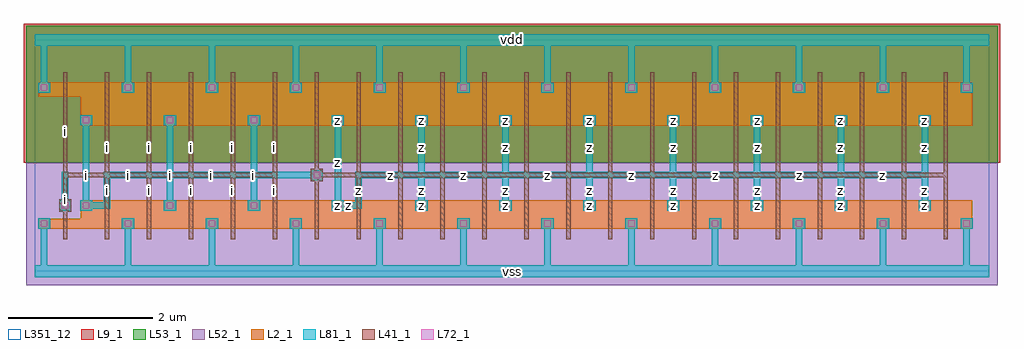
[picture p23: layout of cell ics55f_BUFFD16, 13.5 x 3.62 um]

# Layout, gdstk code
import gdstk
lib = gdstk.Library(unit=1e-6, precision=1e-09)
def R(c, l, rs):  # rectangles x0, y0, x1, y1
    for r in rs: c.add(gdstk.rectangle(r[:2], r[2:], *l))
def A(c, l, x, y, w, h, nx, ny, dx, dy):  # array of equal rectangles
    R(c, l, [(x+i*dx, y+j*dy, x+i*dx+w, y+j*dy+h) for i in range(nx) for j in range(ny)])
def P(c, l, *ps):  # polygons
    for p in ps: c.add(gdstk.Polygon(p, *l))
L0_0 = (0, 0)
L2_1 = (2, 1)
L9_1 = (9, 1)
L41_1 = (41, 1)
L52_1 = (52, 1)
L53_1 = (53, 1)
L72_1 = (72, 1)
L81_1 = (81, 1)
L351_12 = (351, 12)

ics55f_buffd16 = lib.new_cell('ics55f_BUFFD16')
A(ics55f_buffd16, L2_1, 0.055, 0.585, 0.15, 0.15, 12, 2, 1.16, 1.88)
A(ics55f_buffd16, L2_1, 0.635, 0.585, 0.73, 0.4, 21, 1, 0.58, 0)
A(ics55f_buffd16, L2_1, 0.635, 0.835, 0.15, 0.15, 11, 2, 1.16, 1.18)
A(ics55f_buffd16, L2_1, 0.635, 2.015, 0.73, 0.6, 21, 1, 0.58, 0)
R(ics55f_buffd16, L2_1, [(0.055,0.585,0.785,0.725), (0.055,2.415,0.785,2.615)])
R(ics55f_buffd16, L9_1, [(-0.15,1.5,13.35,3.425)])
A(ics55f_buffd16, L41_1, 0.97, 0.445, 0.06, 0.68, 21, 1, 0.58, 0)
A(ics55f_buffd16, L41_1, 0.97, 0.88, 0.06, 0.48, 21, 1, 0.58, 0)
A(ics55f_buffd16, L41_1, 0.39, 1.3, 0.64, 0.06, 5, 1, 0.58, 0)
A(ics55f_buffd16, L41_1, 0.97, 1.3, 0.06, 0.82, 21, 1, 0.58, 0)
A(ics55f_buffd16, L41_1, 3.87, 1.3, 0.64, 0.06, 15, 1, 0.58, 0)
A(ics55f_buffd16, L41_1, 0.97, 1.875, 0.06, 0.88, 21, 1, 0.58, 0)
R(ics55f_buffd16, L41_1, [(0.39,0.445,0.45,0.865), (0.39,0.63,0.45,1.36), (0.335,0.825,0.505,0.995), (3.815,1.245,3.985,1.415), (0.39,1.3,0.45,2.57), (0.39,2.275,0.45,2.755)])
R(ics55f_buffd16, L52_1, [(-0.12,-0.195,13.32,1.5)])
R(ics55f_buffd16, L53_1, [(-0.12,1.5,13.32,3.395)])
A(ics55f_buffd16, L72_1, 0.085, 0.615, 0.09, 0.09, 12, 2, 1.16, 1.88)
A(ics55f_buffd16, L72_1, 0.665, 0.865, 0.09, 0.09, 11, 2, 1.16, 1.18)
R(ics55f_buffd16, L72_1, [(0.375,0.865,0.465,0.955), (3.855,1.285,3.945,1.375)])
P(ics55f_buffd16, L81_1, [(0,-0.08),(0,0.08),(0.085,0.08),(0.085,0.59),(0.045,0.59),(0.045,0.73),(0.215,0.73),(0.215,0.59),(0.175,0.59),(0.175,0.08),(1.245,0.08),(1.245,0.59),(1.205,0.59),(1.205,0.73),(1.375,0.73),(1.375,0.59),(1.335,0.59),(1.335,0.08),(2.405,0.08),(2.405,0.59),(2.365,0.59),(2.365,0.73),(2.535,0.73),(2.535,0.59),(2.495,0.59),(2.495,0.08),(3.565,0.08),(3.565,0.59),(3.525,0.59),(3.525,0.73),(3.695,0.73),(3.695,0.59),(3.655,0.59),(3.655,0.08),(4.725,0.08),(4.725,0.59),(4.685,0.59),(4.685,0.73),(4.855,0.73),(4.855,0.59),(4.815,0.59),(4.815,0.08),(5.885,0.08),(5.885,0.59),(5.845,0.59),(5.845,0.73),(6.015,0.73),(6.015,0.59),(5.975,0.59),(5.975,0.08),(7.045,0.08),(7.045,0.59),(7.005,0.59),(7.005,0.73),(7.175,0.73),(7.175,0.59),(7.135,0.59),(7.135,0.08),(8.205,0.08),(8.205,0.59),(8.165,0.59),(8.165,0.73),(8.335,0.73),(8.335,0.59),(8.295,0.59),(8.295,0.08),(9.365,0.08),(9.365,0.59),(9.325,0.59),(9.325,0.73),(9.495,0.73),(9.495,0.59),(9.455,0.59),(9.455,0.08),(10.525,0.08),(10.525,0.59),(10.485,0.59),(10.485,0.73),(10.655,0.73),(10.655,0.59),(10.615,0.59),(10.615,0.08),(11.685,0.08),(11.685,0.59),(11.645,0.59),(11.645,0.73),(11.815,0.73),(11.815,0.59),(11.775,0.59),(11.775,0.08),(12.845,0.08),(12.845,0.59),(12.805,0.59),(12.805,0.73),(12.975,0.73),(12.975,0.59),(12.935,0.59),(12.935,0.08),(13.2,0.08),(13.2,-0.08)],
  [(0.335,0.84),(0.335,0.98),(0.375,0.98),(0.375,1.375),(0.465,1.375),(0.465,0.98),(0.505,0.98),(0.505,0.84)],
  [(0.625,0.84),(0.625,0.98),(0.665,0.98),(0.665,2.02),(0.625,2.02),(0.625,2.16),(0.795,2.16),(0.795,2.02),(0.755,2.02),(0.755,0.98),(0.795,0.98),(0.795,0.955),(0.955,0.955),(0.955,1.375),(1.825,1.375),(1.825,2.02),(1.785,2.02),(1.785,2.16),(1.955,2.16),(1.955,2.02),(1.915,2.02),(1.915,1.375),(2.985,1.375),(2.985,2.02),(2.945,2.02),(2.945,2.16),(3.115,2.16),(3.115,2.02),(3.075,2.02),(3.075,1.375),(3.815,1.375),(3.815,1.4),(3.985,1.4),(3.985,1.26),(3.815,1.26),(3.815,1.285),(3.075,1.285),(3.075,0.98),(3.115,0.98),(3.115,0.84),(2.945,0.84),(2.945,0.98),(2.985,0.98),(2.985,1.285),(1.915,1.285),(1.915,0.98),(1.955,0.98),(1.955,0.84),(1.785,0.84),(1.785,0.98),(1.825,0.98),(1.825,1.285),(1.045,1.285),(1.045,0.865),(0.795,0.865),(0.795,0.84)],
  [(4.105,0.84),(4.105,0.98),(4.145,0.98),(4.145,2.02),(4.105,2.02),(4.105,2.16),(4.275,2.16),(4.275,2.02),(4.235,2.02),(4.235,0.98),(4.275,0.98),(4.275,0.955),(4.435,0.955),(4.435,1.375),(5.305,1.375),(5.305,2.02),(5.265,2.02),(5.265,2.16),(5.435,2.16),(5.435,2.02),(5.395,2.02),(5.395,1.375),(6.465,1.375),(6.465,2.02),(6.425,2.02),(6.425,2.16),(6.595,2.16),(6.595,2.02),(6.555,2.02),(6.555,1.375),(7.625,1.375),(7.625,2.02),(7.585,2.02),(7.585,2.16),(7.755,2.16),(7.755,2.02),(7.715,2.02),(7.715,1.375),(8.785,1.375),(8.785,2.02),(8.745,2.02),(8.745,2.16),(8.915,2.16),(8.915,2.02),(8.875,2.02),(8.875,1.375),(9.945,1.375),(9.945,2.02),(9.905,2.02),(9.905,2.16),(10.075,2.16),(10.075,2.02),(10.035,2.02),(10.035,1.375),(11.105,1.375),(11.105,2.02),(11.065,2.02),(11.065,2.16),(11.235,2.16),(11.235,2.02),(11.195,2.02),(11.195,1.375),(12.265,1.375),(12.265,2.02),(12.225,2.02),(12.225,2.16),(12.395,2.16),(12.395,2.02),(12.355,2.02),(12.355,0.98),(12.395,0.98),(12.395,0.84),(12.225,0.84),(12.225,0.98),(12.265,0.98),(12.265,1.285),(11.195,1.285),(11.195,0.98),(11.235,0.98),(11.235,0.84),(11.065,0.84),(11.065,0.98),(11.105,0.98),(11.105,1.285),(10.035,1.285),(10.035,0.98),(10.075,0.98),(10.075,0.84),(9.905,0.84),(9.905,0.98),(9.945,0.98),(9.945,1.285),(8.875,1.285),(8.875,0.98),(8.915,0.98),(8.915,0.84),(8.745,0.84),(8.745,0.98),(8.785,0.98),(8.785,1.285),(7.715,1.285),(7.715,0.98),(7.755,0.98),(7.755,0.84),(7.585,0.84),(7.585,0.98),(7.625,0.98),(7.625,1.285),(6.555,1.285),(6.555,0.98),(6.595,0.98),(6.595,0.84),(6.425,0.84),(6.425,0.98),(6.465,0.98),(6.465,1.285),(5.395,1.285),(5.395,0.98),(5.435,0.98),(5.435,0.84),(5.265,0.84),(5.265,0.98),(5.305,0.98),(5.305,1.285),(4.525,1.285),(4.525,0.865),(4.275,0.865),(4.275,0.84)],
  [(0.045,2.47),(0.045,2.61),(0.085,2.61),(0.085,3.12),(0,3.12),(0,3.28),(13.2,3.28),(13.2,3.12),(12.935,3.12),(12.935,2.61),(12.975,2.61),(12.975,2.47),(12.805,2.47),(12.805,2.61),(12.845,2.61),(12.845,3.12),(11.775,3.12),(11.775,2.61),(11.815,2.61),(11.815,2.47),(11.645,2.47),(11.645,2.61),(11.685,2.61),(11.685,3.12),(10.615,3.12),(10.615,2.61),(10.655,2.61),(10.655,2.47),(10.485,2.47),(10.485,2.61),(10.525,2.61),(10.525,3.12),(9.455,3.12),(9.455,2.61),(9.495,2.61),(9.495,2.47),(9.325,2.47),(9.325,2.61),(9.365,2.61),(9.365,3.12),(8.295,3.12),(8.295,2.61),(8.335,2.61),(8.335,2.47),(8.165,2.47),(8.165,2.61),(8.205,2.61),(8.205,3.12),(7.135,3.12),(7.135,2.61),(7.175,2.61),(7.175,2.47),(7.005,2.47),(7.005,2.61),(7.045,2.61),(7.045,3.12),(5.975,3.12),(5.975,2.61),(6.015,2.61),(6.015,2.47),(5.845,2.47),(5.845,2.61),(5.885,2.61),(5.885,3.12),(4.815,3.12),(4.815,2.61),(4.855,2.61),(4.855,2.47),(4.685,2.47),(4.685,2.61),(4.725,2.61),(4.725,3.12),(3.655,3.12),(3.655,2.61),(3.695,2.61),(3.695,2.47),(3.525,2.47),(3.525,2.61),(3.565,2.61),(3.565,3.12),(2.495,3.12),(2.495,2.61),(2.535,2.61),(2.535,2.47),(2.365,2.47),(2.365,2.61),(2.405,2.61),(2.405,3.12),(1.335,3.12),(1.335,2.61),(1.375,2.61),(1.375,2.47),(1.205,2.47),(1.205,2.61),(1.245,2.61),(1.245,3.12),(0.175,3.12),(0.175,2.61),(0.215,2.61),(0.215,2.47)])
R(ics55f_buffd16, L351_12, [(0,0,13.2,3.2)])
ics55f_buffd16.add(gdstk.FlexPath([(0.045,0.24),(12.975,0.24)], 0, ends="flush", simple_path=True, layer=0, datatype=0))  # L0_0
ics55f_buffd16.add(gdstk.FlexPath([(0.045,0.66),(12.975,0.66)], 0, ends="flush", simple_path=True, layer=0, datatype=0))  # L0_0
ics55f_buffd16.add(gdstk.FlexPath([(0.045,0.91),(12.975,0.91)], 0, ends="flush", simple_path=True, layer=0, datatype=0))  # L0_0
ics55f_buffd16.add(gdstk.FlexPath([(0.045,1.33),(12.975,1.33)], 0, ends="flush", simple_path=True, layer=0, datatype=0))  # L0_0
ics55f_buffd16.add(gdstk.FlexPath([(0.045,1.62),(12.975,1.62)], 0, ends="flush", simple_path=True, layer=0, datatype=0))  # L0_0
ics55f_buffd16.add(gdstk.FlexPath([(0.045,2.09),(12.975,2.09)], 0, ends="flush", simple_path=True, layer=0, datatype=0))  # L0_0
ics55f_buffd16.add(gdstk.FlexPath([(0.045,2.54),(12.975,2.54)], 0, ends="flush", simple_path=True, layer=0, datatype=0))  # L0_0
ics55f_buffd16.add(gdstk.FlexPath([(0.045,2.96),(12.975,2.96)], 0, ends="flush", simple_path=True, layer=0, datatype=0))  # L0_0
ics55f_buffd16.add(gdstk.FlexPath([(0.13,0.03),(0.13,3.17)], 0, ends="flush", simple_path=True, layer=0, datatype=0))  # L0_0
ics55f_buffd16.add(gdstk.FlexPath([(0.42,0.03),(0.42,3.17)], 0, ends="flush", simple_path=True, layer=0, datatype=0))  # L0_0
ics55f_buffd16.add(gdstk.FlexPath([(0.71,0.03),(0.71,3.17)], 0, ends="flush", simple_path=True, layer=0, datatype=0))  # L0_0
ics55f_buffd16.add(gdstk.FlexPath([(1,0.03),(1,3.17)], 0, ends="flush", simple_path=True, layer=0, datatype=0))  # L0_0
ics55f_buffd16.add(gdstk.FlexPath([(1.29,0.03),(1.29,3.17)], 0, ends="flush", simple_path=True, layer=0, datatype=0))  # L0_0
ics55f_buffd16.add(gdstk.FlexPath([(1.58,0.03),(1.58,3.17)], 0, ends="flush", simple_path=True, layer=0, datatype=0))  # L0_0
ics55f_buffd16.add(gdstk.FlexPath([(1.87,0.03),(1.87,3.17)], 0, ends="flush", simple_path=True, layer=0, datatype=0))  # L0_0
ics55f_buffd16.add(gdstk.FlexPath([(2.16,0.03),(2.16,3.17)], 0, ends="flush", simple_path=True, layer=0, datatype=0))  # L0_0
ics55f_buffd16.add(gdstk.FlexPath([(2.45,0.03),(2.45,3.17)], 0, ends="flush", simple_path=True, layer=0, datatype=0))  # L0_0
ics55f_buffd16.add(gdstk.FlexPath([(2.74,0.03),(2.74,3.17)], 0, ends="flush", simple_path=True, layer=0, datatype=0))  # L0_0
ics55f_buffd16.add(gdstk.FlexPath([(3.03,0.03),(3.03,3.17)], 0, ends="flush", simple_path=True, layer=0, datatype=0))  # L0_0
ics55f_buffd16.add(gdstk.FlexPath([(3.32,0.03),(3.32,3.17)], 0, ends="flush", simple_path=True, layer=0, datatype=0))  # L0_0
ics55f_buffd16.add(gdstk.FlexPath([(3.61,0.03),(3.61,3.17)], 0, ends="flush", simple_path=True, layer=0, datatype=0))  # L0_0
ics55f_buffd16.add(gdstk.FlexPath([(3.9,0.03),(3.9,3.17)], 0, ends="flush", simple_path=True, layer=0, datatype=0))  # L0_0
ics55f_buffd16.add(gdstk.FlexPath([(4.19,0.03),(4.19,3.17)], 0, ends="flush", simple_path=True, layer=0, datatype=0))  # L0_0
ics55f_buffd16.add(gdstk.FlexPath([(4.48,0.03),(4.48,3.17)], 0, ends="flush", simple_path=True, layer=0, datatype=0))  # L0_0
ics55f_buffd16.add(gdstk.FlexPath([(4.77,0.03),(4.77,3.17)], 0, ends="flush", simple_path=True, layer=0, datatype=0))  # L0_0
ics55f_buffd16.add(gdstk.FlexPath([(5.06,0.03),(5.06,3.17)], 0, ends="flush", simple_path=True, layer=0, datatype=0))  # L0_0
ics55f_buffd16.add(gdstk.FlexPath([(5.35,0.03),(5.35,3.17)], 0, ends="flush", simple_path=True, layer=0, datatype=0))  # L0_0
ics55f_buffd16.add(gdstk.FlexPath([(5.64,0.03),(5.64,3.17)], 0, ends="flush", simple_path=True, layer=0, datatype=0))  # L0_0
ics55f_buffd16.add(gdstk.FlexPath([(5.93,0.03),(5.93,3.17)], 0, ends="flush", simple_path=True, layer=0, datatype=0))  # L0_0
ics55f_buffd16.add(gdstk.FlexPath([(6.22,0.03),(6.22,3.17)], 0, ends="flush", simple_path=True, layer=0, datatype=0))  # L0_0
ics55f_buffd16.add(gdstk.FlexPath([(6.51,0.03),(6.51,3.17)], 0, ends="flush", simple_path=True, layer=0, datatype=0))  # L0_0
ics55f_buffd16.add(gdstk.FlexPath([(6.8,0.03),(6.8,3.17)], 0, ends="flush", simple_path=True, layer=0, datatype=0))  # L0_0
ics55f_buffd16.add(gdstk.FlexPath([(7.09,0.03),(7.09,3.17)], 0, ends="flush", simple_path=True, layer=0, datatype=0))  # L0_0
ics55f_buffd16.add(gdstk.FlexPath([(7.38,0.03),(7.38,3.17)], 0, ends="flush", simple_path=True, layer=0, datatype=0))  # L0_0
ics55f_buffd16.add(gdstk.FlexPath([(7.67,0.03),(7.67,3.17)], 0, ends="flush", simple_path=True, layer=0, datatype=0))  # L0_0
ics55f_buffd16.add(gdstk.FlexPath([(7.96,0.03),(7.96,3.17)], 0, ends="flush", simple_path=True, layer=0, datatype=0))  # L0_0
ics55f_buffd16.add(gdstk.FlexPath([(8.25,0.03),(8.25,3.17)], 0, ends="flush", simple_path=True, layer=0, datatype=0))  # L0_0
ics55f_buffd16.add(gdstk.FlexPath([(8.54,0.03),(8.54,3.17)], 0, ends="flush", simple_path=True, layer=0, datatype=0))  # L0_0
ics55f_buffd16.add(gdstk.FlexPath([(8.83,0.03),(8.83,3.17)], 0, ends="flush", simple_path=True, layer=0, datatype=0))  # L0_0
ics55f_buffd16.add(gdstk.FlexPath([(9.12,0.03),(9.12,3.17)], 0, ends="flush", simple_path=True, layer=0, datatype=0))  # L0_0
ics55f_buffd16.add(gdstk.FlexPath([(9.41,0.03),(9.41,3.17)], 0, ends="flush", simple_path=True, layer=0, datatype=0))  # L0_0
ics55f_buffd16.add(gdstk.FlexPath([(9.7,0.03),(9.7,3.17)], 0, ends="flush", simple_path=True, layer=0, datatype=0))  # L0_0
ics55f_buffd16.add(gdstk.FlexPath([(9.99,0.03),(9.99,3.17)], 0, ends="flush", simple_path=True, layer=0, datatype=0))  # L0_0
ics55f_buffd16.add(gdstk.FlexPath([(10.28,0.03),(10.28,3.17)], 0, ends="flush", simple_path=True, layer=0, datatype=0))  # L0_0
ics55f_buffd16.add(gdstk.FlexPath([(10.57,0.03),(10.57,3.17)], 0, ends="flush", simple_path=True, layer=0, datatype=0))  # L0_0
ics55f_buffd16.add(gdstk.FlexPath([(10.86,0.03),(10.86,3.17)], 0, ends="flush", simple_path=True, layer=0, datatype=0))  # L0_0
ics55f_buffd16.add(gdstk.FlexPath([(11.15,0.03),(11.15,3.17)], 0, ends="flush", simple_path=True, layer=0, datatype=0))  # L0_0
ics55f_buffd16.add(gdstk.FlexPath([(11.44,0.03),(11.44,3.17)], 0, ends="flush", simple_path=True, layer=0, datatype=0))  # L0_0
ics55f_buffd16.add(gdstk.FlexPath([(11.73,0.03),(11.73,3.17)], 0, ends="flush", simple_path=True, layer=0, datatype=0))  # L0_0
ics55f_buffd16.add(gdstk.FlexPath([(12.02,0.03),(12.02,3.17)], 0, ends="flush", simple_path=True, layer=0, datatype=0))  # L0_0
ics55f_buffd16.add(gdstk.FlexPath([(12.31,0.03),(12.31,3.17)], 0, ends="flush", simple_path=True, layer=0, datatype=0))  # L0_0
ics55f_buffd16.add(gdstk.FlexPath([(12.6,0.03),(12.6,3.17)], 0, ends="flush", simple_path=True, layer=0, datatype=0))  # L0_0
ics55f_buffd16.add(gdstk.FlexPath([(12.89,0.03),(12.89,3.17)], 0, ends="flush", simple_path=True, layer=0, datatype=0))  # L0_0
ics55f_buffd16.add(gdstk.Label('z', (4.19,0.91), layer=2, texttype=1))
ics55f_buffd16.add(gdstk.Label('z', (5.35,0.91), layer=2, texttype=1))
ics55f_buffd16.add(gdstk.Label('z', (6.51,0.91), layer=2, texttype=1))
ics55f_buffd16.add(gdstk.Label('z', (7.67,0.91), layer=2, texttype=1))
ics55f_buffd16.add(gdstk.Label('z', (8.83,0.91), layer=2, texttype=1))
ics55f_buffd16.add(gdstk.Label('z', (9.99,0.91), layer=2, texttype=1))
ics55f_buffd16.add(gdstk.Label('z', (11.15,0.91), layer=2, texttype=1))
ics55f_buffd16.add(gdstk.Label('z', (12.31,0.91), layer=2, texttype=1))
ics55f_buffd16.add(gdstk.Label('z', (4.19,2.09), layer=2, texttype=1))
ics55f_buffd16.add(gdstk.Label('z', (5.35,2.09), layer=2, texttype=1))
ics55f_buffd16.add(gdstk.Label('z', (6.51,2.09), layer=2, texttype=1))
ics55f_buffd16.add(gdstk.Label('z', (7.67,2.09), layer=2, texttype=1))
ics55f_buffd16.add(gdstk.Label('z', (8.83,2.09), layer=2, texttype=1))
ics55f_buffd16.add(gdstk.Label('z', (9.99,2.09), layer=2, texttype=1))
ics55f_buffd16.add(gdstk.Label('z', (11.15,2.09), layer=2, texttype=1))
ics55f_buffd16.add(gdstk.Label('z', (12.31,2.09), layer=2, texttype=1))
ics55f_buffd16.add(gdstk.Label('i', (0.42,0.995), layer=41, texttype=1))
ics55f_buffd16.add(gdstk.Label('i', (0.71,1.33), layer=41, texttype=1))
ics55f_buffd16.add(gdstk.Label('i', (1,1.12), layer=41, texttype=1))
ics55f_buffd16.add(gdstk.Label('i', (1.29,1.33), layer=41, texttype=1))
ics55f_buffd16.add(gdstk.Label('i', (1.58,1.12), layer=41, texttype=1))
ics55f_buffd16.add(gdstk.Label('i', (1.87,1.33), layer=41, texttype=1))
ics55f_buffd16.add(gdstk.Label('i', (2.16,1.12), layer=41, texttype=1))
ics55f_buffd16.add(gdstk.Label('i', (2.45,1.33), layer=41, texttype=1))
ics55f_buffd16.add(gdstk.Label('i', (2.74,1.12), layer=41, texttype=1))
ics55f_buffd16.add(gdstk.Label('i', (3.03,1.33), layer=41, texttype=1))
ics55f_buffd16.add(gdstk.Label('i', (3.32,1.12), layer=41, texttype=1))
ics55f_buffd16.add(gdstk.Label('i', (0.42,1.935), layer=41, texttype=1))
ics55f_buffd16.add(gdstk.Label('i', (1,1.71), layer=41, texttype=1))
ics55f_buffd16.add(gdstk.Label('i', (1.58,1.71), layer=41, texttype=1))
ics55f_buffd16.add(gdstk.Label('i', (2.16,1.71), layer=41, texttype=1))
ics55f_buffd16.add(gdstk.Label('i', (2.74,1.71), layer=41, texttype=1))
ics55f_buffd16.add(gdstk.Label('i', (3.32,1.71), layer=41, texttype=1))
ics55f_buffd16.add(gdstk.Label('i', (0.42,0.91), layer=41, texttype=1))
ics55f_buffd16.add(gdstk.Label('i', (0.42,0.91), layer=72, texttype=1))
ics55f_buffd16.add(gdstk.Label('z', (4.19,0.91), layer=72, texttype=1))
ics55f_buffd16.add(gdstk.Label('z', (5.35,0.91), layer=72, texttype=1))
ics55f_buffd16.add(gdstk.Label('z', (6.51,0.91), layer=72, texttype=1))
ics55f_buffd16.add(gdstk.Label('z', (7.67,0.91), layer=72, texttype=1))
ics55f_buffd16.add(gdstk.Label('z', (8.83,0.91), layer=72, texttype=1))
ics55f_buffd16.add(gdstk.Label('z', (9.99,0.91), layer=72, texttype=1))
ics55f_buffd16.add(gdstk.Label('z', (11.15,0.91), layer=72, texttype=1))
ics55f_buffd16.add(gdstk.Label('z', (12.31,0.91), layer=72, texttype=1))
ics55f_buffd16.add(gdstk.Label('z', (4.19,2.09), layer=72, texttype=1))
ics55f_buffd16.add(gdstk.Label('z', (5.35,2.09), layer=72, texttype=1))
ics55f_buffd16.add(gdstk.Label('z', (6.51,2.09), layer=72, texttype=1))
ics55f_buffd16.add(gdstk.Label('z', (7.67,2.09), layer=72, texttype=1))
ics55f_buffd16.add(gdstk.Label('z', (8.83,2.09), layer=72, texttype=1))
ics55f_buffd16.add(gdstk.Label('z', (9.99,2.09), layer=72, texttype=1))
ics55f_buffd16.add(gdstk.Label('z', (11.15,2.09), layer=72, texttype=1))
ics55f_buffd16.add(gdstk.Label('z', (12.31,2.09), layer=72, texttype=1))
ics55f_buffd16.add(gdstk.Label('i', (0.42,0.91), layer=81, texttype=6))
ics55f_buffd16.add(gdstk.Label('i', (0.42,1.12), layer=81, texttype=6))
ics55f_buffd16.add(gdstk.Label('z', (4.19,0.91), layer=81, texttype=6))
ics55f_buffd16.add(gdstk.Label('z', (5.35,0.91), layer=81, texttype=6))
ics55f_buffd16.add(gdstk.Label('z', (6.51,0.91), layer=81, texttype=6))
ics55f_buffd16.add(gdstk.Label('z', (7.67,0.91), layer=81, texttype=6))
ics55f_buffd16.add(gdstk.Label('z', (8.83,0.91), layer=81, texttype=6))
ics55f_buffd16.add(gdstk.Label('z', (9.99,0.91), layer=81, texttype=6))
ics55f_buffd16.add(gdstk.Label('z', (11.15,0.91), layer=81, texttype=6))
ics55f_buffd16.add(gdstk.Label('z', (12.31,0.91), layer=81, texttype=6))
ics55f_buffd16.add(gdstk.Label('z', (4.19,2.09), layer=81, texttype=6))
ics55f_buffd16.add(gdstk.Label('z', (5.35,2.09), layer=81, texttype=6))
ics55f_buffd16.add(gdstk.Label('z', (6.51,2.09), layer=81, texttype=6))
ics55f_buffd16.add(gdstk.Label('z', (7.67,2.09), layer=81, texttype=6))
ics55f_buffd16.add(gdstk.Label('z', (8.83,2.09), layer=81, texttype=6))
ics55f_buffd16.add(gdstk.Label('z', (9.99,2.09), layer=81, texttype=6))
ics55f_buffd16.add(gdstk.Label('z', (11.15,2.09), layer=81, texttype=6))
ics55f_buffd16.add(gdstk.Label('z', (12.31,2.09), layer=81, texttype=6))
ics55f_buffd16.add(gdstk.Label('z', (4.335,0.91), layer=81, texttype=6))
ics55f_buffd16.add(gdstk.Label('z', (4.48,1.12), layer=81, texttype=6))
ics55f_buffd16.add(gdstk.Label('z', (4.915,1.33), layer=81, texttype=6))
ics55f_buffd16.add(gdstk.Label('z', (5.35,1.12), layer=81, texttype=6))
ics55f_buffd16.add(gdstk.Label('z', (5.93,1.33), layer=81, texttype=6))
ics55f_buffd16.add(gdstk.Label('z', (6.51,1.12), layer=81, texttype=6))
ics55f_buffd16.add(gdstk.Label('z', (7.09,1.33), layer=81, texttype=6))
ics55f_buffd16.add(gdstk.Label('z', (7.67,1.12), layer=81, texttype=6))
ics55f_buffd16.add(gdstk.Label('z', (8.25,1.33), layer=81, texttype=6))
ics55f_buffd16.add(gdstk.Label('z', (8.83,1.12), layer=81, texttype=6))
ics55f_buffd16.add(gdstk.Label('z', (9.41,1.33), layer=81, texttype=6))
ics55f_buffd16.add(gdstk.Label('z', (9.99,1.12), layer=81, texttype=6))
ics55f_buffd16.add(gdstk.Label('z', (10.57,1.33), layer=81, texttype=6))
ics55f_buffd16.add(gdstk.Label('z', (11.15,1.12), layer=81, texttype=6))
ics55f_buffd16.add(gdstk.Label('z', (11.73,1.33), layer=81, texttype=6))
ics55f_buffd16.add(gdstk.Label('z', (12.31,1.12), layer=81, texttype=6))
ics55f_buffd16.add(gdstk.Label('z', (4.19,1.5), layer=81, texttype=6))
ics55f_buffd16.add(gdstk.Label('z', (5.35,1.71), layer=81, texttype=6))
ics55f_buffd16.add(gdstk.Label('z', (6.51,1.71), layer=81, texttype=6))
ics55f_buffd16.add(gdstk.Label('z', (7.67,1.71), layer=81, texttype=6))
ics55f_buffd16.add(gdstk.Label('z', (8.83,1.71), layer=81, texttype=6))
ics55f_buffd16.add(gdstk.Label('z', (9.99,1.71), layer=81, texttype=6))
ics55f_buffd16.add(gdstk.Label('z', (11.15,1.71), layer=81, texttype=6))
ics55f_buffd16.add(gdstk.Label('z', (12.31,1.71), layer=81, texttype=6))
ics55f_buffd16.add(gdstk.Label('vss', (6.6,0), layer=81, texttype=6))
ics55f_buffd16.add(gdstk.Label('vdd', (6.6,3.2), layer=81, texttype=6))

lib.write_gds('ics55f_BUFFD16.gds')
